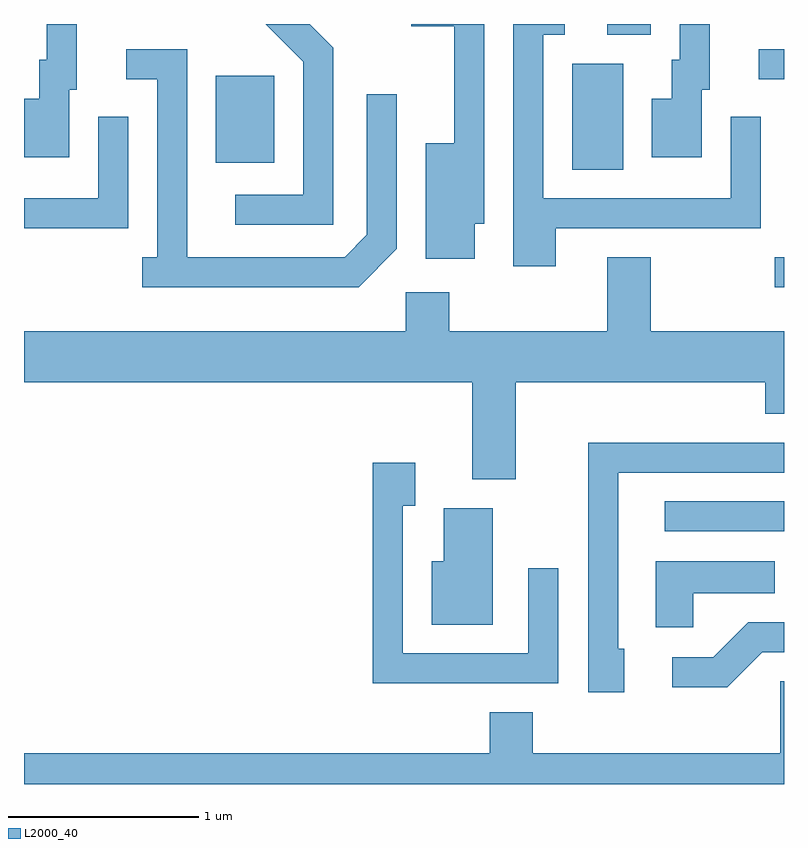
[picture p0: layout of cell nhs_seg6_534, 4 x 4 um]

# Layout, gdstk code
import gdstk
lib = gdstk.Library(unit=1e-6, precision=1e-09)
def R(c, l, rs):  # rectangles x0, y0, x1, y1
    for r in rs: c.add(gdstk.rectangle(r[:2], r[2:], *l))
def P(c, l, *ps):  # polygons
    for p in ps: c.add(gdstk.Polygon(p, *l))
L2000_40 = (2000, 40)

nhs_seg6_534 = lib.new_cell('nhs_seg6_534')
R(nhs_seg6_534, L2000_40, [(204.983,1531.491,205.611,1531.649), (205.563,1532.776,205.611,1532.934), (204.496,1533.396,204.764,1533.954), (202.621,1533.431,202.929,1533.889), (205.478,1533.871,205.611,1534.029), (204.681,1534.106,204.909,1534.162)])
P(nhs_seg6_534, L2000_40, [(205.179,1533.816),(205.219,1533.816),(205.219,1534.162),(205.061,1534.162),(205.061,1533.974),(205.021,1533.974),(205.021,1533.769),(204.916,1533.769),(204.916,1533.461),(205.179,1533.461)],
  [(201.849,1533.816),(201.889,1533.816),(201.889,1534.162),(201.731,1534.162),(201.731,1533.974),(201.691,1533.974),(201.691,1533.769),(201.611,1533.769),(201.611,1533.461),(201.849,1533.461)],
  [(203.239,1534.037),(203.114,1534.162),(202.883,1534.162),(203.081,1533.964),(203.081,1533.264),(202.723,1533.264),(202.723,1533.106),(203.239,1533.106)],
  [(203.984,1533.111),(204.034,1533.111),(204.034,1534.162),(203.648,1534.162),(203.648,1534.151),(203.876,1534.151),(203.876,1533.534),(203.726,1533.534),(203.726,1532.926),(203.984,1532.926)],
  [(204.409,1533.086),(205.489,1533.086),(205.489,1533.673),(205.331,1533.673),(205.331,1533.244),(204.344,1533.244),(204.344,1534.106),(204.458,1534.106),(204.458,1534.162),(204.186,1534.162),(204.186,1532.886),(204.409,1532.886)],
  [(203.574,1532.979),(203.574,1533.793),(203.416,1533.793),(203.416,1533.052),(203.299,1532.934),(202.469,1532.934),(202.469,1534.029),(202.148,1534.029),(202.148,1533.871),(202.311,1533.871),(202.311,1532.934),(202.233,1532.934),(202.233,1532.776),(203.372,1532.776)],
  [(202.159,1533.673),(202.001,1533.673),(202.001,1533.244),(201.611,1533.244),(201.611,1533.086),(202.159,1533.086)],
  [(204.199,1532.276),(205.511,1532.276),(205.511,1532.111),(205.611,1532.111),(205.611,1532.544),(204.909,1532.544),(204.909,1532.934),(204.681,1532.934),(204.681,1532.544),(203.849,1532.544),(203.849,1532.749),(203.621,1532.749),(203.621,1532.544),(201.611,1532.544),(201.611,1532.276),(203.971,1532.276),(203.971,1531.766),(204.199,1531.766)],
  [(204.769,1530.874),(204.739,1530.874),(204.739,1531.801),(205.611,1531.801),(205.611,1531.959),(204.581,1531.959),(204.581,1530.646),(204.769,1530.646)],
  [(204.424,1531.298),(204.266,1531.298),(204.266,1530.849),(203.604,1530.849),(203.604,1531.626),(203.669,1531.626),(203.669,1531.854),(203.446,1531.854),(203.446,1530.691),(204.424,1530.691)],
  [(204.079,1531.614),(203.821,1531.614),(203.821,1531.334),(203.756,1531.334),(203.756,1531.001),(204.079,1531.001)],
  [(205.134,1531.166),(205.563,1531.166),(205.563,1531.334),(204.936,1531.334),(204.936,1530.986),(205.134,1530.986)],
  [(205.497,1530.856),(205.611,1530.856),(205.611,1531.014),(205.424,1531.014),(205.239,1530.829),(205.023,1530.829),(205.023,1530.671),(205.312,1530.671)],
  [(205.611,1530.704),(205.591,1530.704),(205.591,1530.324),(204.289,1530.324),(204.289,1530.539),(204.061,1530.539),(204.061,1530.324),(201.611,1530.324),(201.611,1530.162),(205.611,1530.162)])

lib.write_gds('nhs_seg6_534.gds')
